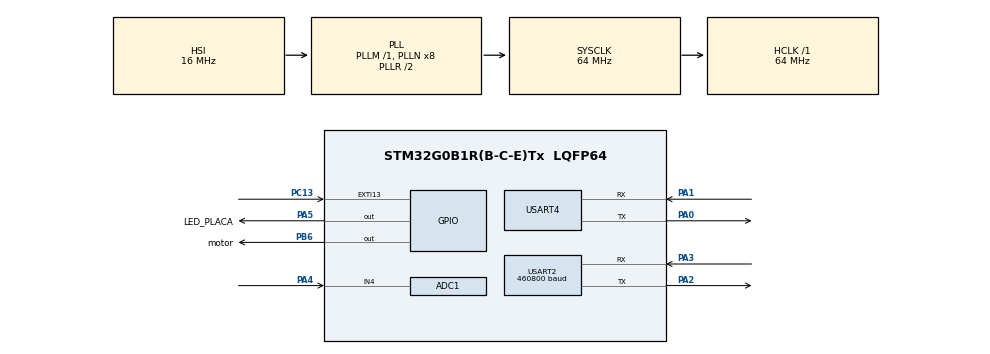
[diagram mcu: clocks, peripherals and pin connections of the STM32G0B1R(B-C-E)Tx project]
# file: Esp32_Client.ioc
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ADC1.Channel-5\#ChannelRegularConversion=ADC_CHANNEL_4
ADC1.ContinuousConvMode=ENABLE
ADC1.DMAContinuousRequests=ENABLE
ADC1.NbrOfConversionFlag=1
ADC1.Rank-5\#ChannelRegularConversion=1
ADC1.SamplingTime-5\#ChannelRegularConversion=ADC_SAMPLINGTIME_COMMON_1
ADC1.SelectedChannel=ADC_CHANNEL_4
ADC1.master=1
Dma.ADC1.0.Direction=DMA_PERIPH_TO_MEMORY
Dma.ADC1.0.EventEnable=DISABLE
Dma.ADC1.0.Instance=DMA1_Channel1
Dma.ADC1.0.MemDataAlignment=DMA_MDATAALIGN_WORD
Dma.ADC1.0.MemInc=DMA_MINC_ENABLE
Dma.ADC1.0.Mode=DMA_NORMAL
Dma.ADC1.0.PeriphDataAlignment=DMA_PDATAALIGN_WORD
Dma.ADC1.0.PeriphInc=DMA_PINC_DISABLE
Dma.ADC1.0.Polarity=HAL_DMAMUX_REQ_GEN_RISING
Dma.ADC1.0.Priority=DMA_PRIORITY_LOW
Dma.ADC1.0.RequestNumber=1
Dma.ADC1.0.SignalID=NONE
Dma.ADC1.0.SyncEnable=DISABLE
Dma.ADC1.0.SyncPolarity=HAL_DMAMUX_SYNC_NO_EVENT
Dma.ADC1.0.SyncRequestNumber=1
Dma.ADC1.0.SyncSignalID=NONE
Dma.Request0=ADC1
Mcu.Family=STM32G0
Mcu.Name=STM32G0B1R(B-C-E)Tx
Mcu.Package=LQFP64
NVIC.ADC1_COMP_IRQn=true\:0\:0\:false\:false\:true\:true\:true
NVIC.DMA1_Channel1_IRQn=true\:0\:0\:false\:false\:true\:false\:true
NVIC.EXTI4_15_IRQn=true\:0\:0\:false\:false\:true\:true\:true
NVIC.USART2_LPUART2_IRQn=true\:0\:0\:false\:false\:true\:true\:true
NVIC.USART3_4_5_6_LPUART1_IRQn=true\:0\:0\:false\:false\:true\:true\:true
PA0.Mode=Asynchronous
PA0.Signal=USART4_TX
PA1.Mode=Asynchronous
PA1.Signal=USART4_RX
PA13.Mode=Serial_Wire
PA13.Signal=SYS_SWDIO
PA14-BOOT0.Mode=Serial_Wire
PA14-BOOT0.Signal=SYS_SWCLK
PA2.Mode=Asynchronous
PA2.Signal=USART2_TX
PA3.Mode=Asynchronous
PA3.Signal=USART2_RX
PA4.Mode=IN4
PA4.Signal=ADC1_IN4
PA5.GPIO_Label=LED_PLACA
PA5.Signal=GPIO_Output
PB6.GPIO_Label=motor
PB6.Signal=GPIO_Output
PC13.GPIO_ModeDefaultEXTI=GPIO_MODE_IT_RISING_FALLING
PC13.Signal=GPXTI13
ProjectManager.HeapSize=0x200
ProjectManager.StackSize=0x400
ProjectManager.TargetToolchain=STM32CubeIDE
RCC.ADCFreq_Value=64000000
RCC.AHBFreq_Value=64000000
RCC.CortexFreq_Value=64000000
RCC.EXTERNAL_CLOCK_VALUE=48000
RCC.HCLKFreq_Value=64000000
RCC.HSE_VALUE=8000000
RCC.HSI48_VALUE=48000000
RCC.HSI_VALUE=16000000
RCC.LSE_VALUE=32768
RCC.SYSCLKFreq_VALUE=64000000
RCC.SYSCLKSource=RCC_SYSCLKSOURCE_PLLCLK
RCC.USBFreq_Value=48000000
RCC.VCOOutputFreq_Value=128000000
USART2.BaudRate=460800
USART2.VirtualMode-Asynchronous=VM_ASYNC
USART4.VirtualMode-Asynchronous=VM_ASYNC
VP_SYS_VS_DBSignals.Mode=DisableDeadBatterySignals
VP_TIM1_VS_ClockSourceINT.Mode=Internal
board=custom

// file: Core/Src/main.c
/* USER CODE BEGIN Header */
/**
  ******************************************************************************
  * @file           : main.c
  * @brief          : Main program body
  ******************************************************************************
  * @attention
  *
  * Copyright (c) 2022 STMicroelectronics.
  * All rights reserved.
  *
  * This software is licensed under terms that can be found in the LICENSE file
  * in the root directory of this software component.
  * If no LICENSE file comes with this software, it is provided AS-IS.
  *
  ******************************************************************************
  */
/* USER CODE END Header */
#include "main.h"

/* USER CODE BEGIN Includes */
#include<stdint.h>
#include <string.h>

//Esp 32
#define buffer 100
uint8_t flag_transmit, flag_receive, conta = 0;
uint8_t Data_AT [7][50] = {"AT\r\n","AT+CWMODE=3\r\n","AT+CWJAP=\"TESTE\",\"12345678\"\r\n","AT+CIPMUX=0\r\n","AT+CIPMODE=1\r\n","AT+CIPSTART=\"UDP\",\"192.168.4.1\",8696,8696\r\n","AT+CIPSEND\r\n"};
uint8_t Rec[buffer];
uint8_t Dado;
uint8_t	send;

//Motor
uint32_t entrada;
float tensao;
uint32_t cor;

/* USER CODE END Includes */

ADC_HandleTypeDef hadc1;
DMA_HandleTypeDef hdma_adc1;

TIM_HandleTypeDef htim1;

UART_HandleTypeDef huart2;
UART_HandleTypeDef huart4;

void SystemClock_Config(void);
static void MX_GPIO_Init(void);
static void MX_USART4_UART_Init(void);
static void MX_USART2_UART_Init(void);
static void MX_ADC1_Init(void);
static void MX_TIM1_Init(void);

/* USER CODE BEGIN 0 */

//void HAL_GPIO_EXTI_Falling_Callback(uint16_t GPIO_Pin){
//	HAL_GPIO_TogglePin(motor_GPIO_Port, motor_Pin);
//}

//esp
void HAL_UART_TxCpltCallback(UART_HandleTypeDef *huart)
{
        flag_transmit = 0;
}

void HAL_UART_RxCpltCallback(UART_HandleTypeDef *huart)
{
           HAL_UART_Transmit(&huart2, &Rec[conta], 1, 10);
        // se a ultima coisa tranferida for (>)
        if(Rec[conta]== '>'){
        	    // pronto para redeber alguma coisa de 5 bytes
                HAL_UART_Receive_IT(&huart4, &Dado, 1);
        // se não
        }else{
                conta++;
                if(conta>=buffer)
                                conta=0;
                //continua recebendo os comandos AT que esa em (Rec[conta])
                HAL_UART_Receive_IT(&huart4, &Rec[conta], 1);
        }

}

// Retorna o valor do ultimo byte recebido: se for '>' quer dizer que a comunicação está estabelecida
uint8_t Esp_Comandos(void){
	//contador para controlar os comandos AT que são 7
	for(int i=0; i<7;i++){

		flag_transmit = 1;
		HAL_UART_Transmit_IT(&huart4, Data_AT[i], strlen((const char *)Data_AT[i]));
		while(flag_transmit);

		conta=0;
		flag_receive = 1;
		HAL_UART_Receive_IT(&huart4, Rec, 1);
		while(flag_receive)
		{
			HAL_Delay(1);
			if(Rec[conta-1]=='\n')
			{
				if(Rec[conta-3]=='K')
					flag_receive = 0;
				else if(Rec[conta-3]=='R')
				{
					i--;
					flag_receive = 0;
				}
				else if (Rec[conta]== '>')
				{
					return Rec[conta];
				}
			}
		}
		HAL_Delay(2000);
	}

	return 0;
}

/* USER CODE END 0 */

int main(void)
{
  /* USER CODE BEGIN 1 */
uint8_t Mensagem;
  /* USER CODE END 1 */

  /* MCU Configuration--------------------------------------------------------*/

  /* Reset of all peripherals, Initializes the Flash interface and the Systick. */
  HAL_Init();

  /* Configure the system clock */
  SystemClock_Config();

  /* Initialize all configured peripherals */
  MX_GPIO_Init();
  MX_USART4_UART_Init();
  MX_USART2_UART_Init();
  MX_ADC1_Init();
  MX_TIM1_Init();
  /* USER CODE BEGIN 2 */
  //remove_Busy();

    HAL_Delay(5000);

    if(Esp_Comandos()=='>') // Se estiver conectado com o outro módulo, liga o LED
    {
  	  HAL_GPIO_WritePin(LED_PLACA_GPIO_Port, LED_PLACA_Pin, 1);
    }else					// Se houve algum erro na conexão, o programa fica travado e o LED fica piscando
    {
  	  while(1)
  	  {
  		  HAL_GPIO_TogglePin(LED_PLACA_GPIO_Port, LED_PLACA_Pin);
  		  HAL_Delay (250);
  	  }
    }

    //ADC_ChannelConfTypeDef sConfig = {0};
  /* USER CODE END 2 */

  /* Infinite loop */
  /* USER CODE BEGIN WHILE */
  while (1){

	  HAL_ADC_Start(&hadc1);
	  HAL_ADC_PollForConversion(&hadc1, 100);
	  entrada = HAL_ADC_GetValue(&hadc1);

	   tensao = entrada * (5/4095.0);

	  if (send)
	  {
		  HAL_UART_Transmit_IT(&huart4, &Mensagem, 1);
		  HAL_Delay(1000);
		  send=0;
	  }

	  switch(Dado){

	  case 1:
		  HAL_GPIO_WritePin(motor_GPIO_Port, motor_Pin, 1);
		  HAL_Delay(2000);
		  HAL_GPIO_WritePin(motor_GPIO_Port, motor_Pin, 0);
		  Dado=0;
		 break;
	  case 2:
		  HAL_GPIO_WritePin(motor_GPIO_Port, motor_Pin, 0);
		  Dado=0;
		 break;
	  }

    /* USER CODE END WHILE */

  }
}

void SystemClock_Config(void)
{
  RCC_OscInitTypeDef RCC_OscInitStruct = {0};
  RCC_ClkInitTypeDef RCC_ClkInitStruct = {0};

  /** Configure the main internal regulator output voltage
  */
  HAL_PWREx_ControlVoltageScaling(PWR_REGULATOR_VOLTAGE_SCALE1);
  /** Initializes the RCC Oscillators according to the specified parameters
  * in the RCC_OscInitTypeDef structure.
  */
  RCC_OscInitStruct.OscillatorType = RCC_OSCILLATORTYPE_HSI;
  RCC_OscInitStruct.HSIState = RCC_HSI_ON;
  RCC_OscInitStruct.HSIDiv = RCC_HSI_DIV1;
  RCC_OscInitStruct.HSICalibrationValue = RCC_HSICALIBRATION_DEFAULT;
  RCC_OscInitStruct.PLL.PLLState = RCC_PLL_ON;
  RCC_OscInitStruct.PLL.PLLSource = RCC_PLLSOURCE_HSI;
  RCC_OscInitStruct.PLL.PLLM = RCC_PLLM_DIV1;
  RCC_OscInitStruct.PLL.PLLN = 8;
  RCC_OscInitStruct.PLL.PLLP = RCC_PLLP_DIV2;
  RCC_OscInitStruct.PLL.PLLQ = RCC_PLLQ_DIV2;
  RCC_OscInitStruct.PLL.PLLR = RCC_PLLR_DIV2;
  if (HAL_RCC_OscConfig(&RCC_OscInitStruct) != HAL_OK)
  {
    Error_Handler();
  }
  /** Initializes the CPU, AHB and APB buses clocks
  */
  RCC_ClkInitStruct.ClockType = RCC_CLOCKTYPE_HCLK|RCC_CLOCKTYPE_SYSCLK
                              |RCC_CLOCKTYPE_PCLK1;
  RCC_ClkInitStruct.SYSCLKSource = RCC_SYSCLKSOURCE_PLLCLK;
  RCC_ClkInitStruct.AHBCLKDivider = RCC_SYSCLK_DIV1;
  RCC_ClkInitStruct.APB1CLKDivider = RCC_HCLK_DIV1;

  if (HAL_RCC_ClockConfig(&RCC_ClkInitStruct, FLASH_LATENCY_2) != HAL_OK)
  {
    Error_Handler();
  }
}

static void MX_ADC1_Init(void)
{

  ADC_ChannelConfTypeDef sConfig = {0};

  /** Configure the global features of the ADC (Clock, Resolution, Data Alignment and number of conversion)
  */
  hadc1.Instance = ADC1;
  hadc1.Init.ClockPrescaler = ADC_CLOCK_SYNC_PCLK_DIV2;
  hadc1.Init.Resolution = ADC_RESOLUTION_12B;
  hadc1.Init.DataAlign = ADC_DATAALIGN_RIGHT;
  hadc1.Init.ScanConvMode = ADC_SCAN_DISABLE;
  hadc1.Init.EOCSelection = ADC_EOC_SINGLE_CONV;
  hadc1.Init.LowPowerAutoWait = DISABLE;
  hadc1.Init.LowPowerAutoPowerOff = DISABLE;
  hadc1.Init.ContinuousConvMode = ENABLE;
  hadc1.Init.NbrOfConversion = 1;
  hadc1.Init.DiscontinuousConvMode = DISABLE;
  hadc1.Init.ExternalTrigConv = ADC_SOFTWARE_START;
  hadc1.Init.ExternalTrigConvEdge = ADC_EXTERNALTRIGCONVEDGE_NONE;
  hadc1.Init.DMAContinuousRequests = ENABLE;
  hadc1.Init.Overrun = ADC_OVR_DATA_PRESERVED;
  hadc1.Init.SamplingTimeCommon1 = ADC_SAMPLETIME_1CYCLE_5;
  hadc1.Init.SamplingTimeCommon2 = ADC_SAMPLETIME_1CYCLE_5;
  hadc1.Init.OversamplingMode = DISABLE;
  hadc1.Init.TriggerFrequencyMode = ADC_TRIGGER_FREQ_HIGH;
  if (HAL_ADC_Init(&hadc1) != HAL_OK)
  {
    Error_Handler();
  }
  /** Configure Regular Channel
  */
  sConfig.Channel = ADC_CHANNEL_4;
  sConfig.Rank = ADC_REGULAR_RANK_1;
  sConfig.SamplingTime = ADC_SAMPLINGTIME_COMMON_1;
  if (HAL_ADC_ConfigChannel(&hadc1, &sConfig) != HAL_OK)
  {
    Error_Handler();
  }

}

static void MX_TIM1_Init(void)
{

  TIM_ClockConfigTypeDef sClockSourceConfig = {0};
  TIM_MasterConfigTypeDef sMasterConfig = {0};

  htim1.Instance = TIM1;
  htim1.Init.Prescaler = 0;
  htim1.Init.CounterMode = TIM_COUNTERMODE_UP;
  htim1.Init.Period = 65535;
  htim1.Init.ClockDivision = TIM_CLOCKDIVISION_DIV1;
  htim1.Init.RepetitionCounter = 0;
  htim1.Init.AutoReloadPreload = TIM_AUTORELOAD_PRELOAD_DISABLE;
  if (HAL_TIM_Base_Init(&htim1) != HAL_OK)
  {
    Error_Handler();
  }
  sClockSourceConfig.ClockSource = TIM_CLOCKSOURCE_INTERNAL;
  if (HAL_TIM_ConfigClockSource(&htim1, &sClockSourceConfig) != HAL_OK)
  {
    Error_Handler();
  }
  sMasterConfig.MasterOutputTrigger = TIM_TRGO_RESET;
  sMasterConfig.MasterOutputTrigger2 = TIM_TRGO2_RESET;
  sMasterConfig.MasterSlaveMode = TIM_MASTERSLAVEMODE_DISABLE;
  if (HAL_TIMEx_MasterConfigSynchronization(&htim1, &sMasterConfig) != HAL_OK)
  {
    Error_Handler();
  }

}

static void MX_USART2_UART_Init(void)
{

  huart2.Instance = USART2;
  huart2.Init.BaudRate = 460800;
  huart2.Init.WordLength = UART_WORDLENGTH_8B;
  huart2.Init.StopBits = UART_STOPBITS_1;
  huart2.Init.Parity = UART_PARITY_NONE;
  huart2.Init.Mode = UART_MODE_TX_RX;
  huart2.Init.HwFlowCtl = UART_HWCONTROL_NONE;
  huart2.Init.OverSampling = UART_OVERSAMPLING_16;
  huart2.Init.OneBitSampling = UART_ONE_BIT_SAMPLE_DISABLE;
  huart2.Init.ClockPrescaler = UART_PRESCALER_DIV1;
  huart2.AdvancedInit.AdvFeatureInit = UART_ADVFEATURE_NO_INIT;
  if (HAL_UART_Init(&huart2) != HAL_OK)
  {
    Error_Handler();
  }
  if (HAL_UARTEx_SetTxFifoThreshold(&huart2, UART_TXFIFO_THRESHOLD_1_8) != HAL_OK)
  {
    Error_Handler();
  }
  if (HAL_UARTEx_SetRxFifoThreshold(&huart2, UART_RXFIFO_THRESHOLD_1_8) != HAL_OK)
  {
    Error_Handler();
  }
  if (HAL_UARTEx_DisableFifoMode(&huart2) != HAL_OK)
  {
    Error_Handler();
  }

}

static void MX_USART4_UART_Init(void)
{

  huart4.Instance = USART4;
  huart4.Init.BaudRate = 115200;
  huart4.Init.WordLength = UART_WORDLENGTH_8B;
  huart4.Init.StopBits = UART_STOPBITS_1;
  huart4.Init.Parity = UART_PARITY_NONE;
  huart4.Init.Mode = UART_MODE_TX_RX;
  huart4.Init.HwFlowCtl = UART_HWCONTROL_NONE;
  huart4.Init.OverSampling = UART_OVERSAMPLING_16;
  huart4.Init.OneBitSampling = UART_ONE_BIT_SAMPLE_DISABLE;
  huart4.Init.ClockPrescaler = UART_PRESCALER_DIV1;
  huart4.AdvancedInit.AdvFeatureInit = UART_ADVFEATURE_NO_INIT;
  if (HAL_UART_Init(&huart4) != HAL_OK)
  {
    Error_Handler();
  }

}

static void MX_GPIO_Init(void)
{
  GPIO_InitTypeDef GPIO_InitStruct = {0};

  /* GPIO Ports Clock Enable */
  __HAL_RCC_GPIOC_CLK_ENABLE();
  __HAL_RCC_GPIOA_CLK_ENABLE();
  __HAL_RCC_GPIOB_CLK_ENABLE();

  /*Configure GPIO pin Output Level */
  HAL_GPIO_WritePin(LED_PLACA_GPIO_Port, LED_PLACA_Pin, GPIO_PIN_RESET);

  /*Configure GPIO pin Output Level */
  HAL_GPIO_WritePin(motor_GPIO_Port, motor_Pin, GPIO_PIN_RESET);

  /*Configure GPIO pin : PC13 */
  GPIO_InitStruct.Pin = GPIO_PIN_13;
  GPIO_InitStruct.Mode = GPIO_MODE_IT_RISING_FALLING;
  GPIO_InitStruct.Pull = GPIO_NOPULL;
  HAL_GPIO_Init(GPIOC, &GPIO_InitStruct);

  /*Configure GPIO pin : LED_PLACA_Pin */
  GPIO_InitStruct.Pin = LED_PLACA_Pin;
  GPIO_InitStruct.Mode = GPIO_MODE_OUTPUT_PP;
  GPIO_InitStruct.Pull = GPIO_NOPULL;
  GPIO_InitStruct.Speed = GPIO_SPEED_FREQ_LOW;
  HAL_GPIO_Init(LED_PLACA_GPIO_Port, &GPIO_InitStruct);

  /*Configure GPIO pin : motor_Pin */
  GPIO_InitStruct.Pin = motor_Pin;
  GPIO_InitStruct.Mode = GPIO_MODE_OUTPUT_PP;
  GPIO_InitStruct.Pull = GPIO_NOPULL;
  GPIO_InitStruct.Speed = GPIO_SPEED_FREQ_LOW;
  HAL_GPIO_Init(motor_GPIO_Port, &GPIO_InitStruct);

  /* EXTI interrupt init*/
  HAL_NVIC_SetPriority(EXTI4_15_IRQn, 0, 0);
  HAL_NVIC_EnableIRQ(EXTI4_15_IRQn);

}

void Error_Handler(void)
{
  __disable_irq();
  while (1)
  {
  }
}
